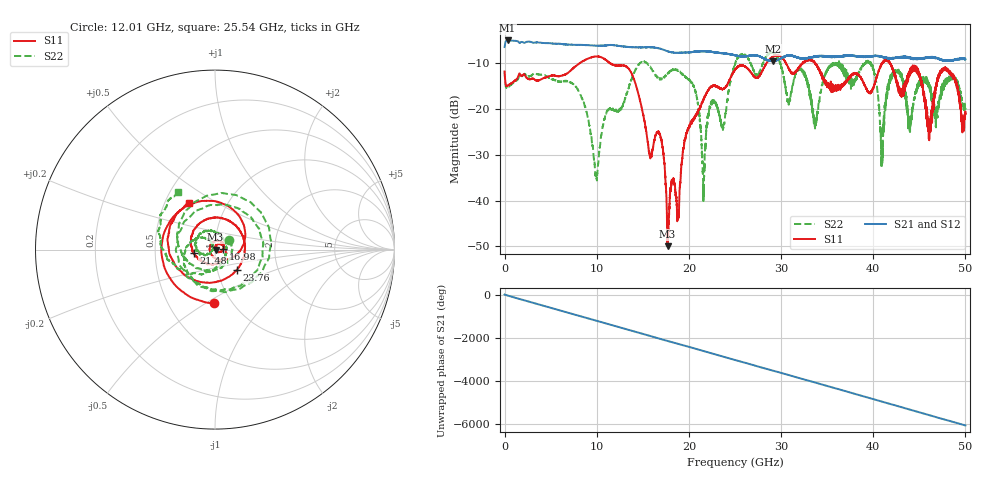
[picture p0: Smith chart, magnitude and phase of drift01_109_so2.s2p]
!Created with skrf (http://scikit-rf.org).
# Hz S RI R 50.0
!freq ReS11 ImS11 ReS21 ImS21 ReS12 ImS12 ReS22 ImS22
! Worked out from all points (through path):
!   10001 points, 300 kHz to 50 GHz, reference 50 ohm
!   highest |S21| = -5.05 dB at 325.3 MHz (marker M1); lowest = -9.6 dB at 29.12 GHz (marker M2)
!   group delay of S21, straight-line fit = 336 ps
!   lowest |S11| = -50.0 dB at 17.69 GHz (marker M3), VSWR 1.01, Z = 50.3 - j0.122 ohm
!   |S11| at or under -10 dB: start of sweep to 8.16 GHz; 11.44 GHz to 28.42 GHz (16.98 GHz wide, 85.2 % of centre); 41.8 GHz to end of sweep (the widest 3 of 8)
!   |S22| runs from -40.5 to -7.6 dB; largest |S21 - S12| = 0.015
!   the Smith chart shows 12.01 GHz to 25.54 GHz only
!   S11 on the Smith chart (normalised r, x): 12.01 GHz: 0.83, -0.54; 16.98 GHz: 1.10, +0.00; 21.48 GHz: 0.79, -0.03; 23.76 GHz: 1.24, -0.29; 25.54 GHz: 0.66, +0.38
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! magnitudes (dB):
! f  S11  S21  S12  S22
! 300 kHz  -11.8  -6.5  -6.5  -11.8
! 325.3 MHz  -15.0  -5.1  -5.1  -15.4
! 8.335 GHz  -9.8  -6.0  -6.0  -17.5
! 9.945 GHz  -8.5  -6.2  -6.2  -34.6
! 12.01 GHz  -10.5  -6.1  -6.2  -20.4
! 16.67 GHz  -25.0  -6.7  -6.7  -13.3
! 16.98 GHz  -26.5  -6.9  -6.9  -13.4
! 17.69 GHz  -50.0  -7.4  -7.4  -12.3
! 20.5 GHz  -22.3  -7.6  -7.5  -15.0
! 21.48 GHz  -18.4  -7.4  -7.4  -31.7
! 22.45 GHz  -15.0  -7.5  -7.5  -18.8
! 23.76 GHz  -15.6  -7.8  -7.9  -23.7
! 25 GHz  -11.4  -8.3  -8.3  -10.2
! 25.54 GHz  -10.5  -8.5  -8.5  -8.3
! 29.12 GHz  -8.6  -9.6  -9.6  -7.8
! 33.34 GHz  -9.4  -8.7  -8.7  -19.2
! 39.49 GHz  -16.4  -8.6  -8.5  -9.9
! 40.95 GHz  -10.1  -8.7  -8.6  -29.8
! 41.67 GHz  -9.6  -8.8  -8.9  -14.7
! 46.11 GHz  -24.7  -8.8  -8.8  -15.5
! 48.04 GHz  -11.8  -9.4  -9.4  -13.3
! 50 GHz  -21.1  -9.2  -9.1  -20.1
